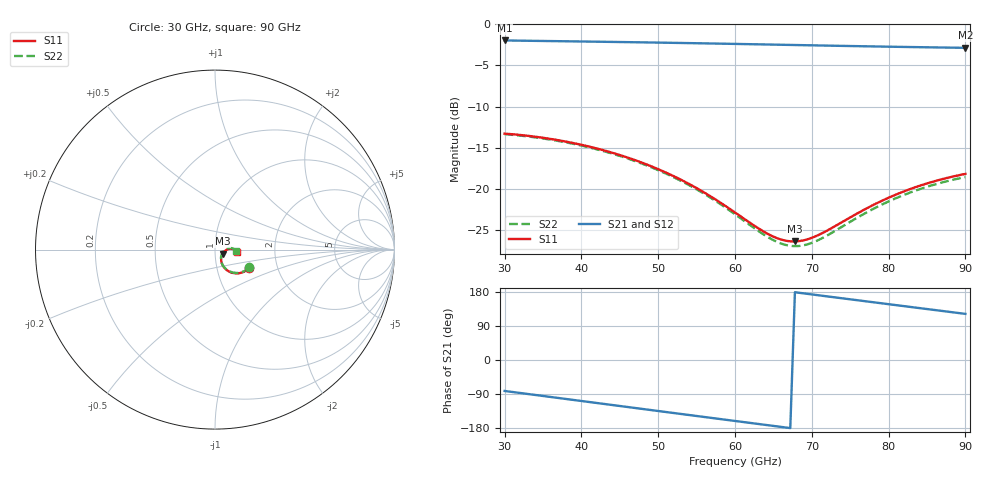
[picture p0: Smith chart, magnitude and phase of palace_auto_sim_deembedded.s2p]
! Created with skrf 1.11.0 (http://scikit-rf.org).
# GHz S DB R 50.0
!freq dBS11 angS11 dBS21 angS21 dBS12 angS12 dBS22 angS22
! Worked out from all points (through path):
!   101 points, 30 GHz to 90 GHz, reference 50 ohm
!   highest |S21| = -1.99 dB at 30 GHz (marker M1); lowest = -2.9 dB at 90 GHz (marker M2)
!   group delay of S21, straight-line fit = 7.26 ps
!   lowest |S11| = -26.4 dB at 67.8 GHz (marker M3), VSWR 1.10, Z = 54.4 - j2.46 ohm
!   |S11| at or under -10 dB: start of sweep to end of sweep
!   |S22| runs from -26.9 to -13.4 dB; largest |S21 - S12| = 4.6e-16
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30  -13.28 -27.7  -1.99 -81.7  -1.99 -81.7  -13.35 -27.3
32.4  -13.49 -32.0  -2.02 -88.0  -2.02 -88.0  -13.56 -31.6
34.8  -13.76 -36.3  -2.05 -94.4  -2.05 -94.4  -13.85 -35.8
37.2  -14.12 -40.5  -2.08 -100.7  -2.08 -100.7  -14.21 -40.0
40.2  -14.68 -45.7  -2.12 -108.7  -2.12 -108.7  -14.78 -45.2
45  -15.88 -53.4  -2.18 -121.4  -2.18 -121.4  -15.99 -52.8
47.4  -16.64 -56.8  -2.22 -127.7  -2.22 -127.7  -16.75 -56.3
50.4  -17.75 -60.5  -2.26 -135.6  -2.26 -135.6  -17.88 -59.9
55.2  -19.99 -63.8  -2.33 -148.3  -2.33 -148.3  -20.15 -63.4
60  -22.84 -60.9  -2.41 -160.9  -2.41 -160.9  -23.06 -60.9
63  -24.74 -53.1  -2.46 -168.7  -2.46 -168.7  -25.05 -53.3
64.8  -25.69 -45.2  -2.49 -173.4  -2.49 -173.4  -26.10 -45.4
66.6  -26.26 -35.2  -2.53 -178.1  -2.53 -178.1  -26.78 -35.1
67.8  -26.36 -28.0  -2.55 178.8  -2.55 178.8  -26.92 -27.5
69  -26.20 -21.0  -2.57 175.7  -2.57 175.7  -26.81 -20.0
70.2  -25.84 -14.8  -2.59 172.6  -2.59 172.6  -26.45 -13.2
72  -25.04 -7.2  -2.62 167.9  -2.62 167.9  -25.63 -5.1
75  -23.44 0.1  -2.67 160.2  -2.67 160.2  -23.97 2.9
78  -21.93 2.7  -2.72 152.4  -2.72 152.4  -22.41 5.8
80.4  -20.89 2.6  -2.76 146.3  -2.76 146.3  -21.34 5.8
85.2  -19.26 -0.9  -2.82 134.0  -2.82 134.0  -19.67 2.5
90  -18.17 -6.8  -2.89 121.7  -2.89 121.7  -18.56 -3.2
